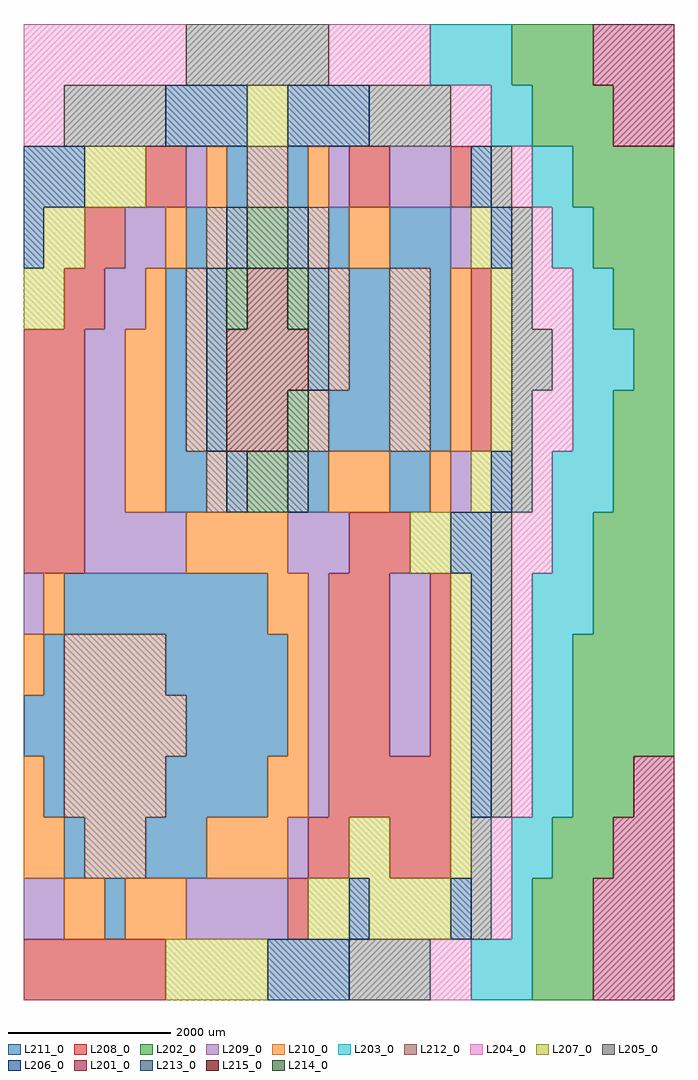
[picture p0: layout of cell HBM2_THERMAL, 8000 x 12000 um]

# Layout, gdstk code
import gdstk
lib = gdstk.Library(unit=1e-6, precision=1e-09)
def R(c, l, rs):  # rectangles x0, y0, x1, y1
    for r in rs: c.add(gdstk.rectangle(r[:2], r[2:], *l))
def A(c, l, x, y, w, h, nx, ny, dx, dy):  # array of equal rectangles
    R(c, l, [(x+i*dx, y+j*dy, x+i*dx+w, y+j*dy+h) for i in range(nx) for j in range(ny)])
L201_0 = (201, 0)
L202_0 = (202, 0)
L203_0 = (203, 0)
L204_0 = (204, 0)
L205_0 = (205, 0)
L206_0 = (206, 0)
L207_0 = (207, 0)
L208_0 = (208, 0)
L209_0 = (209, 0)
L210_0 = (210, 0)
L211_0 = (211, 0)
L212_0 = (212, 0)
L213_0 = (213, 0)
L214_0 = (214, 0)
L215_0 = (215, 0)

hbm2_thermal = lib.new_cell('HBM2_THERMAL')
A(hbm2_thermal, L201_0, 7000, 0, 250, 750, 4, 2, 250, 750)
A(hbm2_thermal, L201_0, 7250, 1500, 250, 750, 3, 2, 250, 9000)
A(hbm2_thermal, L201_0, 7000, 11250, 250, 750, 4, 1, 250, 0)
R(hbm2_thermal, L201_0, [(7500,2250,7750,3000), (7750,2250,8000,3000)])
A(hbm2_thermal, L202_0, 6250, 0, 250, 750, 3, 2, 250, 750)
A(hbm2_thermal, L202_0, 6500, 1500, 250, 750, 3, 1, 250, 0)
A(hbm2_thermal, L202_0, 6750, 2250, 250, 750, 3, 1, 250, 0)
A(hbm2_thermal, L202_0, 6750, 3000, 250, 750, 5, 2, 250, 750)
A(hbm2_thermal, L202_0, 7000, 4500, 250, 750, 4, 2, 250, 750)
A(hbm2_thermal, L202_0, 7250, 6000, 250, 750, 3, 2, 250, 750)
A(hbm2_thermal, L202_0, 7250, 8250, 250, 750, 3, 1, 250, 0)
A(hbm2_thermal, L202_0, 7000, 9000, 250, 750, 4, 1, 250, 0)
A(hbm2_thermal, L202_0, 6750, 9750, 250, 750, 5, 1, 250, 0)
A(hbm2_thermal, L202_0, 6250, 10500, 250, 750, 4, 1, 250, 0)
A(hbm2_thermal, L202_0, 6000, 11250, 250, 750, 4, 1, 250, 0)
R(hbm2_thermal, L202_0, [(7500,7500,7750,8250), (7750,7500,8000,8250)])
A(hbm2_thermal, L203_0, 5500, 0, 250, 750, 3, 1, 250, 0)
A(hbm2_thermal, L203_0, 6250, 1500, 250, 750, 1, 4, 0, 750)
A(hbm2_thermal, L203_0, 6500, 2250, 250, 750, 1, 3, 0, 750)
A(hbm2_thermal, L203_0, 6250, 4500, 250, 750, 3, 1, 250, 0)
A(hbm2_thermal, L203_0, 6750, 5250, 250, 750, 1, 3, 0, 1500)
A(hbm2_thermal, L203_0, 6500, 6000, 250, 750, 3, 1, 250, 0)
A(hbm2_thermal, L203_0, 6750, 7500, 250, 750, 3, 1, 250, 0)
A(hbm2_thermal, L203_0, 5000, 11250, 250, 750, 4, 1, 250, 0)
R(hbm2_thermal, L203_0, [(6000,750,6250,1500), (6000,1500,6250,2250), (6500,5250,6750,6000), (7000,6750,7250,7500), (7000,8250,7250,9000), (6500,9000,6750,9750), (6750,9000,7000,9750), (6250,9750,6500,10500), (6500,9750,6750,10500), (5750,10500,6000,11250), (6000,10500,6250,11250)])
A(hbm2_thermal, L204_0, 6000, 2250, 250, 750, 1, 5, 0, 750)
A(hbm2_thermal, L204_0, 6250, 5250, 250, 750, 1, 3, 0, 750)
A(hbm2_thermal, L204_0, 6500, 6750, 250, 750, 1, 3, 0, 750)
A(hbm2_thermal, L204_0, 0, 11250, 250, 750, 8, 1, 250, 0)
A(hbm2_thermal, L204_0, 3750, 11250, 250, 750, 5, 1, 250, 0)
R(hbm2_thermal, L204_0, [(5000,0,5250,750), (5250,0,5500,750), (5750,750,6000,1500), (5750,1500,6000,2250), (6250,8250,6500,9000), (6250,9000,6500,9750), (6000,9750,6250,10500), (0,10500,250,11250), (250,10500,500,11250), (5250,10500,5500,11250), (5500,10500,5750,11250)])
A(hbm2_thermal, L205_0, 4000, 0, 250, 750, 4, 1, 250, 0)
A(hbm2_thermal, L205_0, 5750, 2250, 250, 750, 1, 5, 0, 750)
A(hbm2_thermal, L205_0, 6000, 6000, 250, 750, 1, 5, 0, 750)
A(hbm2_thermal, L205_0, 500, 10500, 250, 750, 5, 1, 250, 0)
A(hbm2_thermal, L205_0, 4250, 10500, 250, 750, 4, 1, 250, 0)
A(hbm2_thermal, L205_0, 2000, 11250, 250, 750, 7, 1, 250, 0)
R(hbm2_thermal, L205_0, [(5500,750,5750,1500), (5500,1500,5750,2250), (6250,7500,6500,8250), (5750,9750,6000,10500)])
A(hbm2_thermal, L206_0, 3000, 0, 250, 750, 4, 1, 250, 0)
A(hbm2_thermal, L206_0, 5500, 2250, 250, 750, 1, 5, 0, 750)
A(hbm2_thermal, L206_0, 0, 9750, 250, 750, 3, 1, 250, 0)
A(hbm2_thermal, L206_0, 1750, 10500, 250, 750, 4, 1, 250, 0)
A(hbm2_thermal, L206_0, 3250, 10500, 250, 750, 4, 1, 250, 0)
R(hbm2_thermal, L206_0, [(4000,750,4250,1500), (5250,750,5500,1500), (5250,5250,5500,6000), (5750,6000,6000,6750), (0,9000,250,9750), (5750,9000,6000,9750), (5500,9750,5750,10500)])
A(hbm2_thermal, L207_0, 1750, 0, 250, 750, 5, 1, 250, 0)
A(hbm2_thermal, L207_0, 4250, 750, 250, 750, 4, 1, 250, 0)
A(hbm2_thermal, L207_0, 5250, 1500, 250, 750, 1, 5, 0, 750)
A(hbm2_thermal, L207_0, 5750, 6750, 250, 750, 1, 3, 0, 750)
A(hbm2_thermal, L207_0, 750, 9750, 250, 750, 3, 1, 250, 0)
R(hbm2_thermal, L207_0, [(3500,750,3750,1500), (3750,750,4000,1500), (4000,1500,4250,2250), (4250,1500,4500,2250), (4750,5250,5000,6000), (5000,5250,5250,6000), (5500,6000,5750,6750), (0,8250,250,9000), (250,8250,500,9000), (250,9000,500,9750), (500,9000,750,9750), (5500,9000,5750,9750), (2750,10500,3000,11250), (3000,10500,3250,11250)])
A(hbm2_thermal, L208_0, 0, 0, 250, 750, 7, 1, 250, 0)
A(hbm2_thermal, L208_0, 4500, 1500, 250, 750, 3, 1, 250, 0)
A(hbm2_thermal, L208_0, 3750, 2250, 250, 750, 6, 1, 250, 0)
A(hbm2_thermal, L208_0, 3750, 3000, 250, 750, 3, 3, 250, 750)
A(hbm2_thermal, L208_0, 5000, 3000, 250, 750, 1, 3, 0, 750)
A(hbm2_thermal, L208_0, 0, 5250, 250, 750, 3, 4, 250, 750)
A(hbm2_thermal, L208_0, 4000, 5250, 250, 750, 3, 1, 250, 0)
A(hbm2_thermal, L208_0, 5500, 6750, 250, 750, 1, 3, 0, 750)
R(hbm2_thermal, L208_0, [(3250,750,3500,1500), (3500,1500,3750,2250), (3750,1500,4000,2250), (500,8250,750,9000), (750,8250,1000,9000), (750,9000,1000,9750), (1000,9000,1250,9750), (1500,9750,1750,10500), (1750,9750,2000,10500), (4000,9750,4250,10500), (4250,9750,4500,10500), (5250,9750,5500,10500)])
A(hbm2_thermal, L209_0, 2000, 750, 250, 750, 5, 1, 250, 0)
A(hbm2_thermal, L209_0, 3500, 2250, 250, 750, 1, 4, 0, 750)
A(hbm2_thermal, L209_0, 4500, 3000, 250, 750, 1, 3, 0, 750)
A(hbm2_thermal, L209_0, 4750, 3000, 250, 750, 1, 3, 0, 750)
A(hbm2_thermal, L209_0, 750, 5250, 250, 750, 5, 1, 250, 0)
A(hbm2_thermal, L209_0, 3250, 5250, 250, 750, 3, 1, 250, 0)
A(hbm2_thermal, L209_0, 750, 6000, 250, 750, 1, 3, 0, 750)
A(hbm2_thermal, L209_0, 1000, 6000, 250, 750, 1, 4, 0, 750)
A(hbm2_thermal, L209_0, 4500, 9750, 250, 750, 3, 1, 250, 0)
R(hbm2_thermal, L209_0, [(0,750,250,1500), (250,750,500,1500), (3250,1500,3500,2250), (0,4500,250,5250), (5250,6000,5500,6750), (1250,8250,1500,9000), (1250,9000,1500,9750), (1500,9000,1750,9750), (5250,9000,5500,9750), (2000,9750,2250,10500), (3750,9750,4000,10500)])
A(hbm2_thermal, L210_0, 1250, 750, 250, 750, 3, 1, 250, 0)
A(hbm2_thermal, L210_0, 2250, 1500, 250, 750, 4, 1, 250, 0)
A(hbm2_thermal, L210_0, 3250, 2250, 250, 750, 1, 4, 0, 750)
A(hbm2_thermal, L210_0, 2000, 5250, 250, 750, 5, 1, 250, 0)
A(hbm2_thermal, L210_0, 1250, 6000, 250, 750, 1, 3, 0, 750)
A(hbm2_thermal, L210_0, 1500, 6000, 250, 750, 1, 4, 0, 750)
A(hbm2_thermal, L210_0, 3750, 6000, 250, 750, 3, 1, 250, 0)
A(hbm2_thermal, L210_0, 5250, 6750, 250, 750, 1, 3, 0, 750)
R(hbm2_thermal, L210_0, [(500,750,750,1500), (750,750,1000,1500), (0,1500,250,2250), (250,1500,500,2250), (0,2250,250,3000), (3000,2250,3250,3000), (0,3750,250,4500), (250,4500,500,5250), (3000,4500,3250,5250), (5000,6000,5250,6750), (1750,9000,2000,9750), (4000,9000,4250,9750), (4250,9000,4500,9750), (2250,9750,2500,10500), (3500,9750,3750,10500)])
A(hbm2_thermal, L211_0, 1500, 1500, 250, 750, 3, 1, 250, 0)
A(hbm2_thermal, L211_0, 250, 2250, 250, 750, 1, 3, 0, 750)
A(hbm2_thermal, L211_0, 1750, 2250, 250, 750, 5, 1, 250, 0)
A(hbm2_thermal, L211_0, 2000, 3000, 250, 750, 5, 1, 250, 0)
A(hbm2_thermal, L211_0, 1750, 3750, 250, 750, 6, 1, 250, 0)
A(hbm2_thermal, L211_0, 500, 4500, 250, 750, 10, 1, 250, 0)
A(hbm2_thermal, L211_0, 1750, 6000, 250, 750, 1, 4, 0, 750)
A(hbm2_thermal, L211_0, 3750, 6750, 250, 750, 3, 1, 250, 0)
A(hbm2_thermal, L211_0, 5000, 6750, 250, 750, 1, 3, 0, 750)
A(hbm2_thermal, L211_0, 4500, 9000, 250, 750, 3, 1, 250, 0)
R(hbm2_thermal, L211_0, [(1000,750,1250,1500), (500,1500,750,2250), (0,3000,250,3750), (2000,6000,2250,6750), (3500,6000,3750,6750), (4500,6000,4750,6750), (4750,6000,5000,6750), (4000,7500,4250,8250), (4250,7500,4500,8250), (4000,8250,4250,9000), (4250,8250,4500,9000), (2000,9000,2250,9750), (3750,9000,4000,9750), (2500,9750,2750,10500), (3250,9750,3500,10500)])
A(hbm2_thermal, L212_0, 750, 1500, 250, 750, 3, 1, 250, 0)
A(hbm2_thermal, L212_0, 500, 2250, 250, 750, 5, 2, 250, 1500)
A(hbm2_thermal, L212_0, 500, 3000, 250, 750, 6, 1, 250, 0)
A(hbm2_thermal, L212_0, 2000, 6750, 250, 750, 1, 3, 0, 750)
A(hbm2_thermal, L212_0, 4500, 6750, 250, 750, 1, 3, 0, 750)
A(hbm2_thermal, L212_0, 4750, 6750, 250, 750, 1, 3, 0, 750)
R(hbm2_thermal, L212_0, [(2250,6000,2500,6750), (3500,6750,3750,7500), (3750,7500,4000,8250), (3750,8250,4000,9000), (2250,9000,2500,9750), (3500,9000,3750,9750), (2750,9750,3000,10500), (3000,9750,3250,10500)])
A(hbm2_thermal, L213_0, 2250, 6750, 250, 750, 1, 3, 0, 750)
R(hbm2_thermal, L213_0, [(2500,6000,2750,6750), (3250,6000,3500,6750), (3500,7500,3750,8250), (3500,8250,3750,9000), (2500,9000,2750,9750), (3250,9000,3500,9750)])
R(hbm2_thermal, L214_0, [(2750,6000,3000,6750), (3000,6000,3250,6750), (3250,6750,3500,7500), (2500,8250,2750,9000), (3250,8250,3500,9000), (2750,9000,3000,9750), (3000,9000,3250,9750)])
A(hbm2_thermal, L215_0, 2500, 6750, 250, 750, 3, 1, 250, 0)
A(hbm2_thermal, L215_0, 2500, 7500, 250, 750, 4, 1, 250, 0)
R(hbm2_thermal, L215_0, [(2750,8250,3000,9000), (3000,8250,3250,9000)])

lib.write_gds('HBM2_THERMAL.gds')
